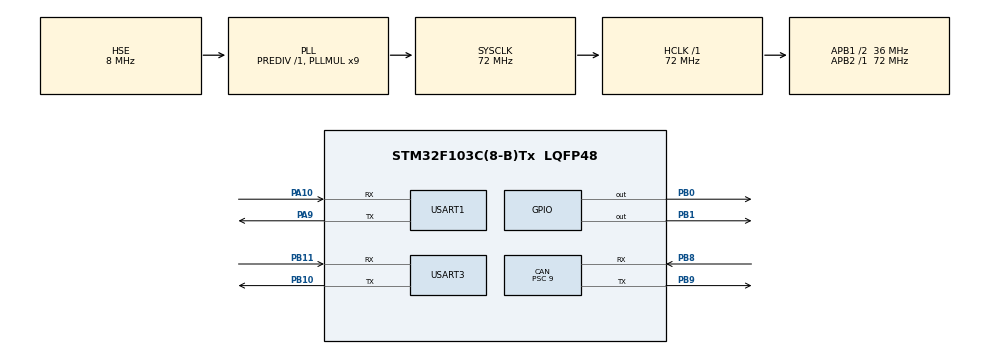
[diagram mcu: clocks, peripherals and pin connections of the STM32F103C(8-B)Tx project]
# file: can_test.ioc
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CAN.ABOM=ENABLE
CAN.AWUM=ENABLE
CAN.BS1=CAN_BS1_8TQ
CAN.BS2=CAN_BS2_7TQ
CAN.CalculateBaudRate=250000
CAN.CalculateTimeBit=4000.00
CAN.CalculateTimeQuantum=250.0
CAN.Prescaler=9
FREERTOS.BinarySemaphores01=myBinarySem,Dynamic,NULL
FREERTOS.Mutexes01=myMutex,Dynamic,NULL
FREERTOS.Queues01=myQueue,16,uint16_t,0,Dynamic,NULL,NULL
FREERTOS.Tasks01=defaultTask,24,128,StartDefaultTask,Default,NULL,Dynamic,NULL,NULL;ModbusTask,8,128,Modbus,Default,NULL,Dynamic,NULL,NULL;CanTask,8,128,Can,Default,NULL,Dynamic,NULL,NULL;CmdTask,8,128,Cmd,Default,NULL,Dynamic,NULL,NULL
Mcu.Family=STM32F1
Mcu.Name=STM32F103C(8-B)Tx
Mcu.Package=LQFP48
NVIC.PriorityGroup=NVIC_PRIORITYGROUP_4
NVIC.TIM2_IRQn=true\:5\:0\:false\:false\:true\:true\:true\:true
NVIC.USART1_IRQn=true\:5\:0\:false\:true\:true\:1\:true\:true\:true
NVIC.USART3_IRQn=true\:5\:0\:false\:false\:true\:true\:true\:true
NVIC.USB_LP_CAN1_RX0_IRQn=true\:5\:0\:false\:false\:true\:true\:true\:true
PA10.Mode=Asynchronous
PA10.Signal=USART1_RX
PA13.Mode=Serial_Wire
PA13.Signal=SYS_JTMS-SWDIO
PA14.Mode=Serial_Wire
PA14.Signal=SYS_JTCK-SWCLK
PA9.Mode=Asynchronous
PA9.Signal=USART1_TX
PB0.GPIO_PuPd=GPIO_PULLUP
PB0.GPIO_Speed=GPIO_SPEED_FREQ_HIGH
PB0.PinState=GPIO_PIN_RESET
PB0.Signal=GPIO_Output
PB1.GPIO_PuPd=GPIO_PULLUP
PB1.GPIO_Speed=GPIO_SPEED_FREQ_HIGH
PB1.Signal=GPIO_Output
PB10.Mode=Asynchronous
PB10.Signal=USART3_TX
PB11.Mode=Asynchronous
PB11.Signal=USART3_RX
PB8.Mode=CAN_Activate
PB8.Signal=CAN_RX
PB9.Mode=CAN_Activate
PB9.Signal=CAN_TX
PD0-OSC_IN.Mode=HSE-External-Oscillator
PD0-OSC_IN.Signal=RCC_OSC_IN
PD1-OSC_OUT.Mode=HSE-External-Oscillator
PD1-OSC_OUT.Signal=RCC_OSC_OUT
ProjectManager.HeapSize=0x200
ProjectManager.StackSize=0x400
ProjectManager.TargetToolchain=MDK-ARM V5
RCC.AHBFreq_Value=72000000
RCC.APB1CLKDivider=RCC_HCLK_DIV2
RCC.APB1Freq_Value=36000000
RCC.APB1TimFreq_Value=72000000
RCC.APB2Freq_Value=72000000
RCC.APB2TimFreq_Value=72000000
RCC.HCLKFreq_Value=72000000
RCC.PLLMUL=RCC_PLL_MUL9
RCC.PLLSourceVirtual=RCC_PLLSOURCE_HSE
RCC.SYSCLKFreq_VALUE=72000000
RCC.SYSCLKSource=RCC_SYSCLKSOURCE_PLLCLK
RCC.USBFreq_Value=72000000
TIM2.Period=1750
TIM2.Prescaler=72-1
USART1.VirtualMode=VM_ASYNC
USART3.VirtualMode=VM_ASYNC
VP_FREERTOS_VS_CMSIS_V2.Mode=CMSIS_V2
VP_TIM2_VS_ClockSourceINT.Mode=Internal
board=custom

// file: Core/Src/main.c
/* USER CODE BEGIN Header */
/**
  ******************************************************************************
  * @file           : main.c
  * @brief          : Main program body
  ******************************************************************************
  * @attention
  *
  * <h2><center>&copy; Copyright (c) 2021 STMicroelectronics.
  * All rights reserved.</center></h2>
  *
  * This software component is licensed by ST under Ultimate Liberty license
  * SLA0044, the "License"; You may not use this file except in compliance with
  * the License. You may obtain a copy of the License at:
  *                             www.st.com/SLA0044
  *
  ******************************************************************************
  */
/* USER CODE END Header */
#include "main.h"
#include "cmsis_os.h"
#include "can.h"
#include "tim.h"
#include "usart.h"
#include "gpio.h"
#include "mb.h"
#include "mbport.h"

/* USER CODE BEGIN PTD */
#define usart1RxSize 64
uint8_t usart1RxState = 0;
uint8_t usart1RxCount = 0;
uint8_t usart1RxBuffer[usart1RxSize] = {0};
uint8_t recvstate = 0;
/* USER CODE END PTD */

void SystemClock_Config(void);
void MX_FREERTOS_Init(void);
static void MX_NVIC_Init(void);

int main(void)
{
  /* USER CODE BEGIN 1 */
//	uint8_t id[64];
//	uint8_t cmd[8];
  /* USER CODE END 1 */

  /* MCU Configuration--------------------------------------------------------*/

  /* Reset of all peripherals, Initializes the Flash interface and the Systick. */
  HAL_Init();

  /* Configure the system clock */
  SystemClock_Config();

  /* Initialize all configured peripherals */
  MX_GPIO_Init();
  MX_CAN_Init();
  MX_USART1_UART_Init();
  MX_TIM2_Init();
  MX_USART3_UART_Init();

  /* Initialize interrupts */
  MX_NVIC_Init();

//  /* Init scheduler */
  osKernelInitialize();  /* Call init function for freertos objects (in freertos.c) */
  MX_FREERTOS_Init();
  /* Start scheduler */
  osKernelStart();
//	eMBInit(MB_RTU, 0x01, 1, 115200, MB_PAR_NONE);
//	eMBEnable(  );

  /* We should never get here as control is now taken by the scheduler */
  /* Infinite loop */
  /* USER CODE BEGIN WHILE */
  while (1)
  {
//		    if(usart1RxState == 1)
//    {
//      usart1RxState = 0;
//      HAL_UART_Transmit(&huart1, usart1RxBuffer, usart1RxCount, HAL_MAX_DELAY);
//      usart1RxCount = 0;
//      memset(usart1RxBuffer, 0, usart1RxSize);
//    }
	//(void)eMBPoll();

//		for(i=0,i<8,i++)
//		{
//			CAN_Send_Message(0x18013F01+i*0x01,0x81);
//		}
//

			//CAN_Send_Message(0x1401013F,0x81);

//		if(usart1RxState == 1 && recvstate == 0)
//    {
//      usart1RxState = 0;
//			recvstate == 1;
//			id = recv;
//      usart1RxCount = 0;
//      memset(usart1RxBuffer, 0, usart1RxSize);
//			printf("-------在发送栏输入十六进制命令------\r\n");
//			HAL_UART_Transmit(&huart1, id, usart1RxCount, HAL_MAX_DELAY);
//			printf("id:%a",id);
//    }
//
//		if(usart1RxState == 1 && recvstate == 1)
//		{
//		usart1RxState = 0;
//			recvstate == 2;
////      HAL_UART_Transmit(&huart1, usart1RxBuffer, usart1RxCount, HAL_MAX_DELAY);
////			cmd=usart1RxBuffer;
//      usart1RxCount = 0;
//      memset(usart1RxBuffer, 0, usart1RxSize);
//			printf("cmd:%x",cmd);
//		}
//   if(recvstate == 2)
//	 {
//	 CAN_Send_Message(id,cmd);
//		 printf("ok!");
//		 recvstate == 0;
//	 }
    /* USER CODE END WHILE */

  }
}

void SystemClock_Config(void)
{
  RCC_OscInitTypeDef RCC_OscInitStruct = {0};
  RCC_ClkInitTypeDef RCC_ClkInitStruct = {0};

  /** Initializes the RCC Oscillators according to the specified parameters
  * in the RCC_OscInitTypeDef structure.
  */
  RCC_OscInitStruct.OscillatorType = RCC_OSCILLATORTYPE_HSE;
  RCC_OscInitStruct.HSEState = RCC_HSE_ON;
  RCC_OscInitStruct.HSEPredivValue = RCC_HSE_PREDIV_DIV1;
  RCC_OscInitStruct.HSIState = RCC_HSI_ON;
  RCC_OscInitStruct.PLL.PLLState = RCC_PLL_ON;
  RCC_OscInitStruct.PLL.PLLSource = RCC_PLLSOURCE_HSE;
  RCC_OscInitStruct.PLL.PLLMUL = RCC_PLL_MUL9;
  if (HAL_RCC_OscConfig(&RCC_OscInitStruct) != HAL_OK)
  {
    Error_Handler();
  }
  /** Initializes the CPU, AHB and APB buses clocks
  */
  RCC_ClkInitStruct.ClockType = RCC_CLOCKTYPE_HCLK|RCC_CLOCKTYPE_SYSCLK
                              |RCC_CLOCKTYPE_PCLK1|RCC_CLOCKTYPE_PCLK2;
  RCC_ClkInitStruct.SYSCLKSource = RCC_SYSCLKSOURCE_PLLCLK;
  RCC_ClkInitStruct.AHBCLKDivider = RCC_SYSCLK_DIV1;
  RCC_ClkInitStruct.APB1CLKDivider = RCC_HCLK_DIV2;
  RCC_ClkInitStruct.APB2CLKDivider = RCC_HCLK_DIV1;

  if (HAL_RCC_ClockConfig(&RCC_ClkInitStruct, FLASH_LATENCY_2) != HAL_OK)
  {
    Error_Handler();
  }
}

/**
  * @brief NVIC Configuration.
  * @retval None
  */
static void MX_NVIC_Init(void)
{
  /* USART1_IRQn interrupt configuration */
  HAL_NVIC_SetPriority(USART1_IRQn, 5, 0);
  HAL_NVIC_EnableIRQ(USART1_IRQn);
}

void Error_Handler(void)
{
  __disable_irq();
  while (1)
  {
  }
}

/************************ (C) COPYRIGHT STMicroelectronics *****END OF FILE****/

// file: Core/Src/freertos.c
/* USER CODE BEGIN Header */
/**
  ******************************************************************************
  * File Name          : freertos.c
  * Description        : Code for freertos applications
  ******************************************************************************
  * @attention
  *
  * <h2><center>&copy; Copyright (c) 2021 STMicroelectronics.
  * All rights reserved.</center></h2>
  *
  * This software component is licensed by ST under Ultimate Liberty license
  * SLA0044, the "License"; You may not use this file except in compliance with
  * the License. You may obtain a copy of the License at:
  *                             www.st.com/SLA0044
  *
  ******************************************************************************
  */
/* USER CODE END Header */

#include "FreeRTOS.h"
#include "task.h"
#include "main.h"
#include "cmsis_os.h"

/* USER CODE BEGIN Includes */
#include "can.h"
#include "mb.h"
#include "mbport.h"
#include "port.h"
extern void CAN_Send_Message(int BANID);
//extern USHORT usRegHoldingBuf[REG_HOLDING_NREGS];
//extern unsigned char data[64];
/* USER CODE END Includes */

/* Definitions for defaultTask */
osThreadId_t defaultTaskHandle;
const osThreadAttr_t defaultTask_attributes = {
  .name = "defaultTask",
  .stack_size = 128 * 4,
  .priority = (osPriority_t) osPriorityNormal,
};
/* Definitions for ModbusTask */
osThreadId_t ModbusTaskHandle;
const osThreadAttr_t ModbusTask_attributes = {
  .name = "ModbusTask",
  .stack_size = 128 * 4,
  .priority = (osPriority_t) osPriorityLow,
};
/* Definitions for CanTask */
osThreadId_t CanTaskHandle;
const osThreadAttr_t CanTask_attributes = {
  .name = "CanTask",
  .stack_size = 128 * 4,
  .priority = (osPriority_t) osPriorityLow,
};
/* Definitions for CmdTask */
osThreadId_t CmdTaskHandle;
const osThreadAttr_t CmdTask_attributes = {
  .name = "CmdTask",
  .stack_size = 128 * 4,
  .priority = (osPriority_t) osPriorityLow,
};
/* Definitions for myQueue */
osMessageQueueId_t myQueueHandle;
const osMessageQueueAttr_t myQueue_attributes = {
  .name = "myQueue"
};
/* Definitions for myMutex */
osMutexId_t myMutexHandle;
const osMutexAttr_t myMutex_attributes = {
  .name = "myMutex"
};
/* Definitions for myBinarySem */
osSemaphoreId_t myBinarySemHandle;
const osSemaphoreAttr_t myBinarySem_attributes = {
  .name = "myBinarySem"
};

void StartDefaultTask(void *argument);
void Modbus(void *argument);
void Can(void *argument);
void Cmd(void *argument);

void MX_FREERTOS_Init(void); /* (MISRA C 2004 rule 8.1) */

void MX_FREERTOS_Init(void) {
  /* Create the mutex(es) */
  /* creation of myMutex */
  myMutexHandle = osMutexNew(&myMutex_attributes);

  /* Create the semaphores(s) */
  /* creation of myBinarySem */
  myBinarySemHandle = osSemaphoreNew(1, 1, &myBinarySem_attributes);

  /* Create the queue(s) */
  /* creation of myQueue */
  myQueueHandle = osMessageQueueNew (16, sizeof(uint16_t), &myQueue_attributes);

  /* Create the thread(s) */
  /* creation of defaultTask */
  defaultTaskHandle = osThreadNew(StartDefaultTask, NULL, &defaultTask_attributes);

  /* creation of ModbusTask */
  ModbusTaskHandle = osThreadNew(Modbus, NULL, &ModbusTask_attributes);

  /* creation of CanTask */
  CanTaskHandle = osThreadNew(Can, NULL, &CanTask_attributes);

  /* creation of CmdTask */
  CmdTaskHandle = osThreadNew(Cmd, NULL, &CmdTask_attributes);

}

void StartDefaultTask(void *argument)
{
  for(;;)
  {
    osDelay(1);
  }
}

void Modbus(void *argument)
{
  /* USER CODE BEGIN Modbus */
  /* Infinite loop */
	eMBInit(MB_RTU, 0x01, 1, 115200, MB_PAR_NONE);
	eMBEnable(  );
  for(;;)
  {
			(void)eMBPoll();

   // osDelay(1);
  }
  /* USER CODE END Modbus */
}

void Can(void *argument)
{
  /* USER CODE BEGIN Can */
  /* Infinite loop */
  for(;;)
  {
		for(int i=0; i<8;i++)
		{
			CAN_Send_Message(i);
			     osDelay(1);
		}

  }
  /* USER CODE END Can */
}

void Cmd(void *argument)
{
  for(;;)
  {
    osDelay(1);
  }
}

/************************ (C) COPYRIGHT STMicroelectronics *****END OF FILE****/
